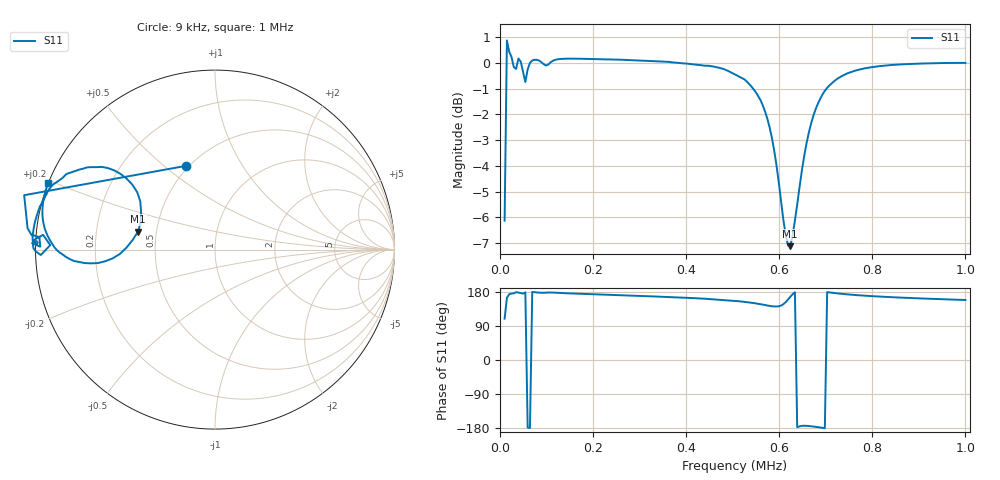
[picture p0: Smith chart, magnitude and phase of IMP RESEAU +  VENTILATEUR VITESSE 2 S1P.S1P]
!Agilent Technologies,E5071C,MY46109397,A.09.54
!Date: Mon Jan 01 01:29:41 2001
!Data & Calibration Information:
!Freq	S11:SOLT1(ON)
# Hz S RI R 50
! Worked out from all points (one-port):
!   201 points, 9 kHz to 1 MHz, reference 50 ohm
!   lowest |S11| = -7.1 dB at 623.4 kHz (marker M1), VSWR 2.57, Z = 19.6 + j4.91 ohm
!   |S11| at or under -10 dB: nowhere
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9000  -0.1611 0.4667
13955  -1.063 0.3031
18910  -1.044 0.119
33775  -0.9734 0.0164
38730  -1.019 0.0355
48640  -0.9578 0.0823
53595  -0.9176 0.025
58550  -0.9704 -0.03
68460  -1.011 0.00657
98190  -0.9875 0.0385
132875  -1.016 0.0602
256750  -1.002 0.159
380625  -0.9673 0.2556
504500  -0.8677 0.3859
549095  -0.7557 0.4461
578825  -0.5968 0.4543
593690  -0.4932 0.3963
603600  -0.4331 0.3192
613510  -0.4121 0.2131
623420  -0.4287 0.1008
628375  -0.4593 0.0528
638285  -0.5298 -0.0242
653150  -0.6534 -0.0753
682880  -0.8327 -0.0394
707655  -0.9037 0.0272
752250  -0.9504 0.1249
876125  -0.9554 0.2772
1000000  -0.9294 0.369
